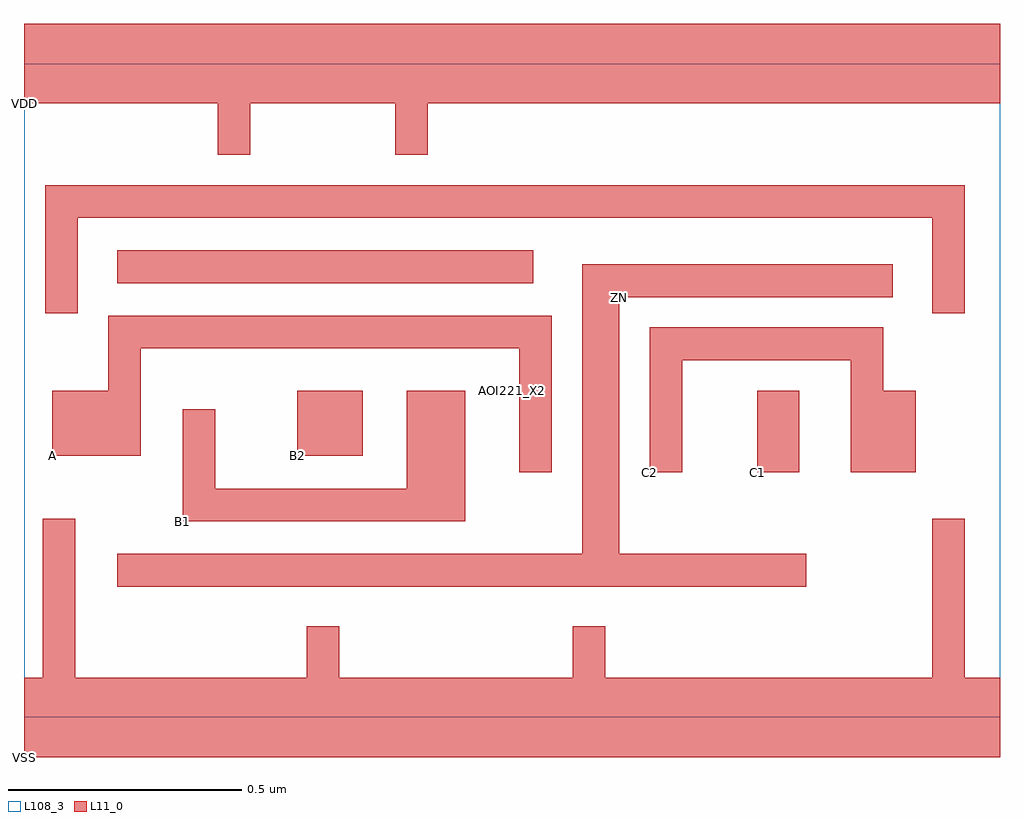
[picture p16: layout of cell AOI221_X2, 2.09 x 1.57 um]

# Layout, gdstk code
import gdstk
lib = gdstk.Library(unit=1e-6, precision=1e-09)
def R(c, l, rs):  # rectangles x0, y0, x1, y1
    for r in rs: c.add(gdstk.rectangle(r[:2], r[2:], *l))
def P(c, l, *ps):  # polygons
    for p in ps: c.add(gdstk.Polygon(p, *l))
L11_0 = (11, 0)
L108_3 = (108, 3)

aoi221_x2 = lib.new_cell('AOI221_X2')
R(aoi221_x2, L11_0, [(1.57,0.525,1.66,0.7), (0.585,0.56,0.725,0.7), (0.2,0.93,1.09,1)])
P(aoi221_x2, L11_0, [(0.06,0.56),(0.25,0.56),(0.25,0.79),(1.06,0.79),(1.06,0.525),(1.13,0.525),(1.13,0.86),(0.18,0.86),(0.18,0.7),(0.06,0.7)],
  [(0.34,0.42),(0.945,0.42),(0.945,0.7),(0.82,0.7),(0.82,0.49),(0.41,0.49),(0.41,0.66),(0.34,0.66)],
  [(1.34,0.525),(1.41,0.525),(1.41,0.765),(1.77,0.765),(1.77,0.525),(1.91,0.525),(1.91,0.7),(1.84,0.7),(1.84,0.835),(1.34,0.835)],
  [(1.275,0.9),(1.86,0.9),(1.86,0.97),(1.195,0.97),(1.195,0.35),(0.2,0.35),(0.2,0.28),(1.675,0.28),(1.675,0.35),(1.275,0.35)],
  [(0,1.315),(0.415,1.315),(0.415,1.205),(0.485,1.205),(0.485,1.315),(0.795,1.315),(0.795,1.205),(0.865,1.205),(0.865,1.315),(2.015,1.315),(2.09,1.315),(2.09,1.485),(2.015,1.485),(0,1.485)],
  [(0,-0.085),(2.09,-0.085),(2.09,0.085),(2.015,0.085),(2.015,0.425),(1.945,0.425),(1.945,0.085),(1.245,0.085),(1.245,0.195),(1.175,0.195),(1.175,0.085),(0.675,0.085),(0.675,0.195),(0.605,0.195),(0.605,0.085),(0.11,0.085),(0.11,0.425),(0.04,0.425),(0.04,0.085),(0,0.085)],
  [(0.045,0.865),(0.115,0.865),(0.115,1.07),(1.945,1.07),(1.945,0.865),(2.015,0.865),(2.015,1.14),(0.045,1.14)])
R(aoi221_x2, L108_3, [(0,0,2.09,1.4)])
aoi221_x2.add(gdstk.Label('AOI221_X2', (1.045,0.7), layer=108, texttype=3))
aoi221_x2.add(gdstk.Label('A', (0.06,0.56), layer=11, texttype=0))
aoi221_x2.add(gdstk.Label('B1', (0.34,0.42), layer=11, texttype=0))
aoi221_x2.add(gdstk.Label('B2', (0.585,0.56), layer=11, texttype=0))
aoi221_x2.add(gdstk.Label('C1', (1.57,0.525), layer=11, texttype=0))
aoi221_x2.add(gdstk.Label('C2', (1.34,0.525), layer=11, texttype=0))
aoi221_x2.add(gdstk.Label('ZN', (1.275,0.9), layer=11, texttype=0))
aoi221_x2.add(gdstk.Label('VDD', (0,1.315), layer=11, texttype=0))
aoi221_x2.add(gdstk.Label('VSS', (0,-0.085), layer=11, texttype=0))

lib.write_gds('AOI221_X2.gds')
